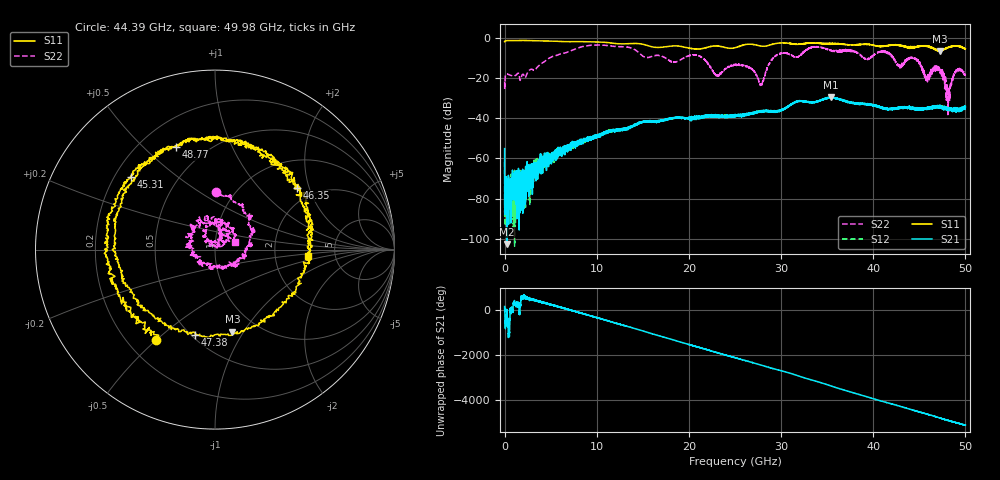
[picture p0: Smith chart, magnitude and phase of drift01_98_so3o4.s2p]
!Created with skrf (http://scikit-rf.org).
# Hz S RI R 50.0
!freq ReS11 ImS11 ReS21 ImS21 ReS12 ImS12 ReS22 ImS22
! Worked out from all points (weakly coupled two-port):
!   10001 points, 300 kHz to 50 GHz, reference 50 ohm
!   highest |S21| = -29.56 dB at 35.42 GHz (marker M1); lowest = -102.6 dB at 270.3 MHz (marker M2)
!   lowest |S11| = -6.6 dB at 47.21 GHz (marker M3), VSWR 2.76, Z = 38.1 - j44.6 ohm
!   |S11| at or under -10 dB: nowhere
!   |S22| runs from -38.2 to -3.6 dB; largest |S21 - S12| = 0.0049
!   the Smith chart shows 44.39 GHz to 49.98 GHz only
!   S11 on the Smith chart (normalised r, x): 44.39 GHz: 0.31, -0.50; 45.31 GHz: 0.27, +0.35; 46.35 GHz: 1.63, +1.68; 47.38 GHz: 0.52, -0.65; 48.77 GHz: 0.35, +0.63; 49.98 GHz: 3.14, -0.29
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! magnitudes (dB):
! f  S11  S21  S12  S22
! 300 kHz  -2.1  -55.1  -61.6  -21.7
! 270.3 MHz  -1.4  -102.6  -75.9  -18.0
! 8.335 GHz  -1.9  -51.6  -51.7  -4.5
! 16.67 GHz  -4.8  -41.4  -41.6  -8.7
! 20.97 GHz  -5.6  -39.1  -39.6  -8.8
! 23.08 GHz  -4.1  -38.9  -39.0  -18.8
! 25 GHz  -5.0  -39.1  -38.7  -13.7
! 27.84 GHz  -4.2  -36.7  -36.5  -23.0
! 29.47 GHz  -2.8  -36.9  -36.6  -8.8
! 33.34 GHz  -2.6  -32.1  -31.9  -4.7
! 35.42 GHz  -2.7  -29.6  -29.8  -6.2
! 41.67 GHz  -3.9  -35.8  -35.6  -7.7
! 42.84 GHz  -3.9  -35.2  -34.8  -13.7
! 44.39 GHz  -4.4  -34.9  -34.8  -9.9
! 45.31 GHz  -4.2  -35.5  -35.4  -16.3
! 46.35 GHz  -4.8  -34.7  -34.8  -17.0
! 47.21 GHz  -6.6  -34.0  -34.2  -16.6
! 47.38 GHz  -6.3  -34.2  -34.4  -17.1
! 48.14 GHz  -4.9  -35.5  -35.9  -30.5
! 48.77 GHz  -4.3  -35.4  -36.0  -18.8
! 49.98 GHz  -5.7  -35.0  -34.5  -18.3
! 50 GHz  -5.5  -34.2  -34.5  -18.5
